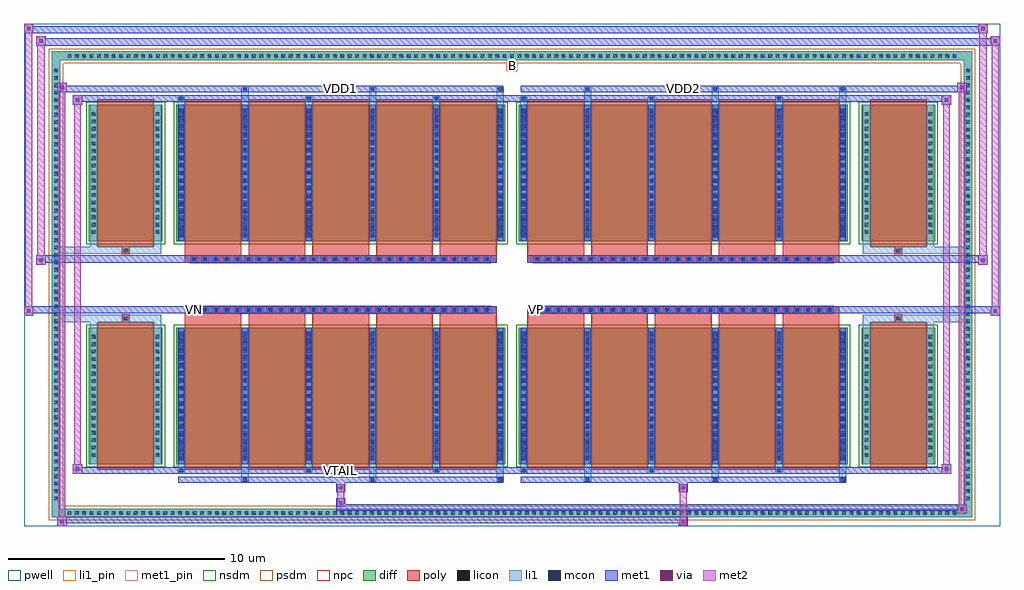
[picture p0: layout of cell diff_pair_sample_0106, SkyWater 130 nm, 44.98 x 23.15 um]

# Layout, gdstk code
import gdstk
lib = gdstk.Library(unit=1e-6, precision=5e-09)
def R(c, l, rs):  # rectangles x0, y0, x1, y1
    for r in rs: c.add(gdstk.rectangle(r[:2], r[2:], *l))
def A(c, l, x, y, w, h, nx, ny, dx, dy):  # array of equal rectangles
    R(c, l, [(x+i*dx, y+j*dy, x+i*dx+w, y+j*dy+h) for i in range(nx) for j in range(ny)])
def P(c, l, *ps):  # polygons
    for p in ps: c.add(gdstk.Polygon(p, *l))
pwell = (64, 44)
diff = (65, 20)
poly = (66, 20)
licon = (66, 44)
li1_pin = (67, 16)
li1 = (67, 20)
mcon = (67, 44)
met1_pin = (68, 16)
met1 = (68, 20)
via = (68, 44)
met2 = (69, 20)
nsdm = (93, 44)
psdm = (94, 20)
npc = (95, 20)

diff_pair_sample_0106 = lib.new_cell('diff_pair_sample_0106')
R(diff_pair_sample_0106, pwell, [(-22.49,-11.14,22.49,12.01), (-19.81,-9.33,-0.01,-0.805), (0.01,-9.33,19.81,-0.805), (-19.81,0.805,-0.01,9.33), (0.01,0.805,19.81,9.33)])
A(diff_pair_sample_0106, diff, -20.605, -10.74, 0.41, 0.41, 121, 2, 0.34, 21.07)
A(diff_pair_sample_0106, diff, -21.22, -10.065, 0.41, 0.41, 1, 59, 0, 0.34)
A(diff_pair_sample_0106, diff, 20.81, -10.065, 0.41, 0.41, 1, 59, 0, 0.34)
R(diff_pair_sample_0106, diff, [(-20.605,-10.74,20.605,-10.33), (-21.22,-10.065,-20.81,10.065), (20.81,-10.065,21.22,10.065), (-19.5,-8.285,-16.11,-1.985), (-15.47,-8.285,-0.32,-1.985), (0.32,-8.285,15.47,-1.985), (16.11,-8.285,19.5,-1.985), (-19.5,1.985,-16.11,8.285), (-15.47,1.985,-0.32,8.285), (0.32,1.985,15.47,8.285), (16.11,1.985,19.5,8.285), (-20.605,10.33,20.605,10.74)])
P(diff_pair_sample_0106, diff, [(21.22,10.74),(-21.22,10.74),(-21.22,-10.33),(-20.81,-10.33),(-20.81,10.33),(20.81,10.33),(20.81,-10.33),(-20.81,-10.33),(-21.22,-10.33),(-21.22,-10.74),(21.22,-10.74)])
A(diff_pair_sample_0106, poly, -15.08, -8.535, 2.61, 6.8, 5, 2, 2.94, 10.27)
A(diff_pair_sample_0106, poly, 0.71, -8.535, 2.61, 6.8, 5, 2, 2.94, 10.27)
A(diff_pair_sample_0106, poly, -15.08, -1.735, 2.61, 0.4, 5, 2, 2.94, 3.07)
A(diff_pair_sample_0106, poly, 0.71, -1.735, 2.61, 0.4, 5, 2, 2.94, 3.07)
A(diff_pair_sample_0106, poly, -14.81, -1.335, 0.33, 0.33, 28, 2, 0.5, 2.34)
A(diff_pair_sample_0106, poly, 0.98, -1.335, 0.33, 0.33, 28, 2, 0.5, 2.34)
R(diff_pair_sample_0106, poly, [(-19.11,-8.535,-16.5,-1.735), (16.5,-8.535,19.11,-1.735), (-17.97,-1.735,-17.64,-1.405), (-17.97,-1.735,-17.64,-1.405), (17.64,-1.735,17.97,-1.405), (17.64,-1.735,17.97,-1.405), (-15.08,-1.335,-0.71,-1.005), (0.71,-1.335,15.08,-1.005), (-15.08,1.005,-0.71,1.335), (0.71,1.005,15.08,1.335), (-17.97,1.405,-17.64,1.735), (-17.97,1.405,-17.64,1.735), (17.64,1.405,17.97,1.735), (17.64,1.405,17.97,1.735), (-19.11,1.735,-16.5,8.535), (16.5,1.735,19.11,8.535)])
A(diff_pair_sample_0106, licon, -20.485, -10.62, 0.17, 0.17, 121, 2, 0.34, 21.07)
A(diff_pair_sample_0106, licon, -21.1, -9.945, 0.17, 0.17, 1, 59, 0, 0.34)
A(diff_pair_sample_0106, licon, 20.93, -9.945, 0.17, 0.17, 1, 59, 0, 0.34)
A(diff_pair_sample_0106, licon, -19.36, -7.94, 0.17, 0.17, 1, 17, 0, 0.34)
A(diff_pair_sample_0106, licon, -16.42, -7.94, 0.17, 0.17, 1, 17, 0, 0.34)
A(diff_pair_sample_0106, licon, -15.33, -7.94, 0.17, 0.17, 6, 17, 2.94, 0.34)
A(diff_pair_sample_0106, licon, 0.46, -7.94, 0.17, 0.17, 6, 17, 2.94, 0.34)
A(diff_pair_sample_0106, licon, 16.25, -7.94, 0.17, 0.17, 1, 17, 0, 0.34)
A(diff_pair_sample_0106, licon, 19.19, -7.94, 0.17, 0.17, 1, 17, 0, 0.34)
A(diff_pair_sample_0106, licon, -14.73, -1.255, 0.17, 0.17, 28, 2, 0.5, 2.34)
A(diff_pair_sample_0106, licon, 1.06, -1.255, 0.17, 0.17, 28, 2, 0.5, 2.34)
A(diff_pair_sample_0106, licon, -19.36, 2.33, 0.17, 0.17, 1, 17, 0, 0.34)
A(diff_pair_sample_0106, licon, -16.42, 2.33, 0.17, 0.17, 1, 17, 0, 0.34)
A(diff_pair_sample_0106, licon, -15.33, 2.33, 0.17, 0.17, 6, 17, 2.94, 0.34)
A(diff_pair_sample_0106, licon, 0.46, 2.33, 0.17, 0.17, 6, 17, 2.94, 0.34)
A(diff_pair_sample_0106, licon, 16.25, 2.33, 0.17, 0.17, 1, 17, 0, 0.34)
A(diff_pair_sample_0106, licon, 19.19, 2.33, 0.17, 0.17, 1, 17, 0, 0.34)
R(diff_pair_sample_0106, licon, [(-17.89,-1.655,-17.72,-1.485), (17.72,-1.655,17.89,-1.485), (-17.89,1.485,-17.72,1.655), (17.72,1.485,17.89,1.655)])
R(diff_pair_sample_0106, li1_pin, [(-0.25,9.83,0.25,10.33)])
A(diff_pair_sample_0106, li1, -20.565, -10.7, 0.33, 0.33, 121, 2, 0.34, 21.07)
A(diff_pair_sample_0106, li1, -21.18, -10.025, 0.33, 0.33, 1, 59, 0, 0.34)
A(diff_pair_sample_0106, li1, 20.85, -10.025, 0.33, 0.33, 1, 59, 0, 0.34)
A(diff_pair_sample_0106, li1, -12.47, -9.09, 0.33, 0.805, 3, 2, 5.88, 17.375)
A(diff_pair_sample_0106, li1, -12.39, -9.09, 0.17, 0.17, 3, 2, 5.88, 18.01)
A(diff_pair_sample_0106, li1, 3.32, -9.09, 0.33, 0.805, 3, 2, 5.88, 17.375)
A(diff_pair_sample_0106, li1, 3.4, -9.09, 0.17, 0.17, 3, 2, 5.88, 18.01)
A(diff_pair_sample_0106, li1, -15.41, -8.66, 0.33, 0.375, 3, 2, 5.88, 16.945)
A(diff_pair_sample_0106, li1, -15.33, -8.66, 0.17, 0.17, 3, 2, 5.88, 17.15)
A(diff_pair_sample_0106, li1, 0.38, -8.66, 0.33, 0.375, 3, 2, 5.88, 16.945)
A(diff_pair_sample_0106, li1, 0.46, -8.66, 0.17, 0.17, 3, 2, 5.88, 17.15)
A(diff_pair_sample_0106, li1, -15.41, -8.285, 0.33, 6.3, 6, 2, 2.94, 10.27)
A(diff_pair_sample_0106, li1, 0.38, -8.285, 0.33, 6.3, 6, 2, 2.94, 10.27)
A(diff_pair_sample_0106, li1, -15.33, -8.1, 0.17, 0.17, 6, 17, 2.94, 0.36)
A(diff_pair_sample_0106, li1, -15.33, -8.1, 0.17, 5.93, 6, 2, 2.94, 10.27)
A(diff_pair_sample_0106, li1, 0.46, -8.1, 0.17, 0.17, 6, 17, 2.94, 0.36)
A(diff_pair_sample_0106, li1, 0.46, -8.1, 0.17, 5.93, 6, 2, 2.94, 10.27)
A(diff_pair_sample_0106, li1, -19.44, -8.02, 0.33, 0.33, 1, 17, 0, 0.34)
A(diff_pair_sample_0106, li1, -16.5, -8.02, 0.33, 0.33, 1, 17, 0, 0.34)
A(diff_pair_sample_0106, li1, -15.41, -8.02, 0.33, 0.33, 6, 17, 2.94, 0.34)
A(diff_pair_sample_0106, li1, 0.38, -8.02, 0.33, 0.33, 6, 17, 2.94, 0.34)
A(diff_pair_sample_0106, li1, 16.17, -8.02, 0.33, 0.33, 1, 17, 0, 0.34)
A(diff_pair_sample_0106, li1, 19.11, -8.02, 0.33, 0.33, 1, 17, 0, 0.34)
A(diff_pair_sample_0106, li1, -14.81, -1.335, 0.33, 0.33, 28, 2, 0.5, 2.34)
A(diff_pair_sample_0106, li1, 0.98, -1.335, 0.33, 0.33, 28, 2, 0.5, 2.34)
A(diff_pair_sample_0106, li1, -15.33, 2.17, 0.17, 0.17, 6, 17, 2.94, 0.36)
A(diff_pair_sample_0106, li1, 0.46, 2.17, 0.17, 0.17, 6, 17, 2.94, 0.36)
A(diff_pair_sample_0106, li1, -19.44, 2.25, 0.33, 0.33, 1, 17, 0, 0.34)
A(diff_pair_sample_0106, li1, -16.5, 2.25, 0.33, 0.33, 1, 17, 0, 0.34)
A(diff_pair_sample_0106, li1, -15.41, 2.25, 0.33, 0.33, 6, 17, 2.94, 0.34)
A(diff_pair_sample_0106, li1, 0.38, 2.25, 0.33, 0.33, 6, 17, 2.94, 0.34)
A(diff_pair_sample_0106, li1, 16.17, 2.25, 0.33, 0.33, 1, 17, 0, 0.34)
A(diff_pair_sample_0106, li1, 19.11, 2.25, 0.33, 0.33, 1, 17, 0, 0.34)
R(diff_pair_sample_0106, li1, [(-21.22,-10.74,-20.81,-10.33), (-21.22,-10.74,-20.81,-10.33), (-20.81,-10.74,20.81,-10.33), (20.81,-10.74,21.22,-10.33), (20.81,-10.74,21.22,-10.33), (-21.22,-10.33,-20.81,10.33), (20.81,-10.33,21.22,10.33), (-19.44,-8.285,-19.11,-1.985), (-16.5,-8.285,-16.17,-1.985), (16.17,-8.285,16.5,-1.985), (19.11,-8.285,19.44,-1.985), (-19.44,-1.985,-19.11,-1.405), (-16.5,-1.985,-16.17,-1.405), (16.17,-1.985,16.5,-1.405), (19.11,-1.985,19.44,-1.405), (-21.22,-1.735,-17.97,-1.405), (-19.44,-1.735,-17.97,-1.405), (-17.97,-1.735,-17.64,-1.405), (-17.64,-1.735,-16.17,-1.405), (16.17,-1.735,17.64,-1.405), (17.64,-1.735,17.97,-1.405), (17.64,-1.735,21.22,-1.405), (17.97,-1.735,19.44,-1.405), (-21.22,1.405,-17.97,1.735), (-19.44,1.405,-17.97,1.735), (-19.44,1.405,-19.11,1.985), (-17.97,1.405,-17.64,1.735), (-17.64,1.405,-16.17,1.735), (-16.5,1.405,-16.17,1.985), (16.17,1.405,17.64,1.735), (16.17,1.405,16.5,1.985), (17.64,1.405,17.97,1.735), (17.64,1.405,21.22,1.735), (17.97,1.405,19.44,1.735), (19.11,1.405,19.44,1.985), (-19.44,1.985,-19.11,8.285), (-16.5,1.985,-16.17,8.285), (16.17,1.985,16.5,8.285), (19.11,1.985,19.44,8.285), (-21.22,10.33,-20.81,10.74), (-21.22,10.33,-20.81,10.74), (-20.81,10.33,20.81,10.74), (20.81,10.33,21.22,10.74), (20.81,10.33,21.22,10.74)])
A(diff_pair_sample_0106, mcon, -12.39, -9.09, 0.17, 0.17, 3, 2, 5.88, 18.01)
A(diff_pair_sample_0106, mcon, 3.4, -9.09, 0.17, 0.17, 3, 2, 5.88, 18.01)
A(diff_pair_sample_0106, mcon, -15.33, -8.66, 0.17, 0.17, 3, 2, 5.88, 17.15)
A(diff_pair_sample_0106, mcon, 0.46, -8.66, 0.17, 0.17, 3, 2, 5.88, 17.15)
A(diff_pair_sample_0106, mcon, -15.33, -8.1, 0.17, 0.17, 6, 17, 2.94, 0.36)
A(diff_pair_sample_0106, mcon, 0.46, -8.1, 0.17, 0.17, 6, 17, 2.94, 0.36)
A(diff_pair_sample_0106, mcon, -14.73, -1.255, 0.17, 0.17, 28, 2, 0.5, 2.34)
A(diff_pair_sample_0106, mcon, 1.06, -1.255, 0.17, 0.17, 28, 2, 0.5, 2.34)
A(diff_pair_sample_0106, mcon, -15.33, 2.17, 0.17, 0.17, 6, 17, 2.94, 0.36)
A(diff_pair_sample_0106, mcon, 0.46, 2.17, 0.17, 0.17, 6, 17, 2.94, 0.36)
R(diff_pair_sample_0106, met1_pin, [(-8.03,-8.7,-7.76,-8.43), (-14.78,-1.295,-14.51,-1.025), (1.01,-1.295,1.28,-1.025), (-8.03,8.88,-7.76,9.15), (7.76,8.88,8.03,9.15)])
A(diff_pair_sample_0106, met1, -12.45, -9.15, 0.29, 0.29, 3, 2, 5.88, 18.01)
A(diff_pair_sample_0106, met1, 3.34, -9.15, 0.29, 0.29, 3, 2, 5.88, 18.01)
A(diff_pair_sample_0106, met1, -15.39, -8.72, 0.29, 0.29, 3, 2, 5.88, 17.15)
A(diff_pair_sample_0106, met1, 0.4, -8.72, 0.29, 0.29, 3, 2, 5.88, 17.15)
A(diff_pair_sample_0106, met1, -15.39, -8.285, 0.29, 6.3, 6, 2, 2.94, 10.27)
A(diff_pair_sample_0106, met1, 0.4, -8.285, 0.29, 6.3, 6, 2, 2.94, 10.27)
A(diff_pair_sample_0106, met1, -15.39, -8.16, 0.29, 0.29, 6, 17, 2.94, 0.36)
A(diff_pair_sample_0106, met1, 0.4, -8.16, 0.29, 0.29, 6, 17, 2.94, 0.36)
A(diff_pair_sample_0106, met1, -14.79, -1.315, 0.29, 0.29, 28, 2, 0.5, 2.34)
A(diff_pair_sample_0106, met1, 1, -1.315, 0.29, 0.29, 28, 2, 0.5, 2.34)
A(diff_pair_sample_0106, met1, -15.39, 2.11, 0.29, 0.29, 6, 17, 2.94, 0.36)
A(diff_pair_sample_0106, met1, 0.4, 2.11, 0.29, 0.29, 6, 17, 2.94, 0.36)
R(diff_pair_sample_0106, met1, [(-20.95,-11.14,-20.52,-10.71), (7.68,-11.14,8.11,-10.71), (-20.95,-11,8.11,-10.71), (20.52,-10.57,20.95,-10.14), (-8.11,-10.43,20.95,-10.14), (-8.11,-10.29,-7.68,-9.86), (-8.11,-9.58,-7.68,-9.15), (7.68,-9.58,8.11,-9.15), (-15.39,-9.15,-0.4,-8.86), (0.4,-9.15,15.39,-8.86), (-20.24,-8.72,-19.81,-8.29), (-20.24,-8.72,-15.39,-8.43), (-15.39,-8.72,-0.4,-8.43), (-0.4,-8.72,0.4,-8.43), (0.4,-8.72,15.39,-8.43), (15.39,-8.72,20.24,-8.43), (19.81,-8.72,20.24,-8.29), (-22.49,-1.435,-22.06,-1.005), (22.06,-1.435,22.49,-1.005), (-22.49,-1.335,-0.71,-1.005), (-15.08,-1.335,-0.71,-1.005), (0.71,-1.335,15.08,-1.005), (0.71,-1.335,22.49,-1.005), (-21.92,0.905,-21.49,1.335), (21.49,0.905,21.92,1.335), (-21.92,1.005,-15.08,1.335), (-15.08,1.005,-0.71,1.335), (0.71,1.005,15.08,1.335), (15.08,1.005,21.92,1.335), (-20.24,8.29,-19.81,8.72), (19.81,8.29,20.24,8.72), (-20.24,8.43,-15.39,8.72), (-15.39,8.43,-0.4,8.72), (-0.4,8.43,0.4,8.72), (0.4,8.43,15.39,8.72), (15.39,8.43,20.24,8.72), (-20.95,8.86,-20.52,9.29), (-20.95,8.86,-15.39,9.15), (-15.39,8.86,-0.4,9.15), (0.4,8.86,15.39,9.15), (15.39,8.86,20.95,9.15), (20.52,8.86,20.95,9.29), (-21.92,11.01,-21.49,11.44), (-21.92,11.01,-19.81,11.34), (-19.81,11.01,19.81,11.34), (19.81,11.01,22.49,11.34), (22.06,11.01,22.49,11.44), (-22.49,11.58,-22.06,12.01), (-22.49,11.58,-19.81,11.91), (-19.81,11.58,19.81,11.91), (19.81,11.58,21.92,11.91), (21.49,11.58,21.92,12.01)])
R(diff_pair_sample_0106, via, [(-20.81,-11,-20.66,-10.85), (7.82,-11,7.97,-10.85), (20.66,-10.43,20.81,-10.28), (-7.97,-10.15,-7.82,-10), (-7.97,-9.44,-7.82,-9.29), (7.82,-9.44,7.97,-9.29), (-20.1,-8.58,-19.95,-8.43), (19.95,-8.58,20.1,-8.43), (-22.35,-1.295,-22.2,-1.145), (22.2,-1.295,22.35,-1.145), (-21.78,1.045,-21.63,1.195), (21.63,1.045,21.78,1.195), (-20.1,8.43,-19.95,8.58), (19.95,8.43,20.1,8.58), (-20.81,9,-20.66,9.15), (20.66,9,20.81,9.15), (-21.78,11.15,-21.63,11.3), (22.2,11.15,22.35,11.3), (-22.35,11.72,-22.2,11.87), (21.63,11.72,21.78,11.87)])
R(diff_pair_sample_0106, met2, [(-20.95,-11.14,-20.52,-10.71), (-20.88,-11.14,-20.59,9.29), (-20.59,-11.14,-20.52,-10.71), (-20.9,-11.09,-20.57,-10.76), (7.73,-11.09,8.06,-10.76), (7.73,-10.76,8.06,-9.53), (20.52,-10.57,20.95,-10.14), (20.59,-10.57,20.88,9.29), (20.88,-10.57,20.95,-10.14), (20.57,-10.52,20.9,-10.19), (-8.06,-10.24,-7.73,-9.91), (-8.06,-9.91,-7.73,-9.53), (-8.06,-9.53,-7.73,-9.2), (7.73,-9.53,8.06,-9.2), (-20.24,-8.72,-19.81,-8.29), (-20.17,-8.72,-19.88,8.72), (-19.88,-8.72,-19.81,-8.29), (19.81,-8.72,20.24,-8.29), (19.88,-8.72,20.17,8.72), (20.17,-8.72,20.24,-8.29), (-20.19,-8.67,-19.86,-8.34), (19.86,-8.67,20.19,-8.34), (-22.49,-1.435,-22.06,-1.005), (-22.44,-1.435,-22.11,12.01), (-22.11,-1.435,-22.06,-1.005), (22.06,-1.435,22.49,-1.005), (22.11,-1.435,22.44,11.44), (22.44,-1.435,22.49,-1.005), (-22.44,-1.385,-22.11,-1.055), (22.11,-1.385,22.44,-1.055), (-21.92,0.905,-21.49,1.335), (-21.87,0.905,-21.54,11.44), (-21.54,0.905,-21.49,1.335), (21.49,0.905,21.92,1.335), (21.54,0.905,21.87,12.01), (21.87,0.905,21.92,1.335), (-21.87,0.955,-21.54,1.285), (21.54,0.955,21.87,1.285), (-20.24,8.29,-19.81,8.72), (-19.88,8.29,-19.81,8.72), (19.81,8.29,20.24,8.72), (20.17,8.29,20.24,8.72), (-20.19,8.34,-19.86,8.67), (19.86,8.34,20.19,8.67), (-20.95,8.86,-20.52,9.29), (-20.59,8.86,-20.52,9.29), (20.52,8.86,20.95,9.29), (20.88,8.86,20.95,9.29), (-20.9,8.91,-20.57,9.24), (20.57,8.91,20.9,9.24), (-21.92,11.01,-21.49,11.44), (-21.54,11.01,-21.49,11.44), (22.06,11.01,22.49,11.44), (22.44,11.01,22.49,11.44), (-21.87,11.06,-21.54,11.39), (22.11,11.06,22.44,11.39), (-22.49,11.58,-22.06,12.01), (-22.11,11.58,-22.06,12.01), (21.49,11.58,21.92,12.01), (21.87,11.58,21.92,12.01), (-22.44,11.63,-22.11,11.96), (21.54,11.63,21.87,11.96)])
R(diff_pair_sample_0106, nsdm, [(-19.63,-8.415,-15.98,-1.855), (-15.6,-8.415,-0.19,-1.855), (0.19,-8.415,15.6,-1.855), (15.98,-8.415,19.63,-1.855), (-19.63,1.855,-15.98,8.415), (-15.6,1.855,-0.19,8.415), (0.19,1.855,15.6,8.415), (15.98,1.855,19.63,8.415)])
P(diff_pair_sample_0106, psdm, [(21.35,10.87),(-21.35,10.87),(-21.35,-10.2),(-20.68,-10.2),(-20.68,10.2),(20.68,10.2),(20.68,-10.2),(-20.68,-10.2),(-21.35,-10.2),(-21.35,-10.87),(21.35,-10.87)])
A(diff_pair_sample_0106, npc, -14.83, -1.355, 0.37, 0.37, 28, 2, 0.5, 2.34)
A(diff_pair_sample_0106, npc, 0.96, -1.355, 0.37, 0.37, 28, 2, 0.5, 2.34)
R(diff_pair_sample_0106, npc, [(-17.99,-1.755,-17.62,-1.385), (17.62,-1.755,17.99,-1.385), (-14.83,-1.355,-13.96,-0.985), (-14.83,-1.355,-13.96,-0.985), (-14.33,-1.355,-13.46,-0.985), (-14.33,-1.355,-13.46,-0.985), (-13.83,-1.355,-12.96,-0.985), (-13.83,-1.355,-12.96,-0.985), (-13.33,-1.355,-12.46,-0.985), (-13.33,-1.355,-12.46,-0.985), (-12.83,-1.355,-11.96,-0.985), (-12.83,-1.355,-11.96,-0.985), (-12.33,-1.355,-11.46,-0.985), (-12.33,-1.355,-11.46,-0.985), (-11.83,-1.355,-10.96,-0.985), (-11.83,-1.355,-10.96,-0.985), (-11.33,-1.355,-10.46,-0.985), (-11.33,-1.355,-10.46,-0.985), (-10.83,-1.355,-9.96,-0.985), (-10.83,-1.355,-9.96,-0.985), (-10.33,-1.355,-9.46,-0.985), (-10.33,-1.355,-9.46,-0.985), (-9.83,-1.355,-8.96,-0.985), (-9.83,-1.355,-8.96,-0.985), (-9.33,-1.355,-8.46,-0.985), (-9.33,-1.355,-8.46,-0.985), (-8.83,-1.355,-7.96,-0.985), (-8.83,-1.355,-7.96,-0.985), (-8.33,-1.355,-7.46,-0.985), (-8.33,-1.355,-7.46,-0.985), (-7.83,-1.355,-6.96,-0.985), (-7.83,-1.355,-6.96,-0.985), (-7.33,-1.355,-6.46,-0.985), (-7.33,-1.355,-6.46,-0.985), (-6.83,-1.355,-5.96,-0.985), (-6.83,-1.355,-5.96,-0.985), (-6.33,-1.355,-5.46,-0.985), (-6.33,-1.355,-5.46,-0.985), (-5.83,-1.355,-4.96,-0.985), (-5.83,-1.355,-4.96,-0.985), (-5.33,-1.355,-4.46,-0.985), (-5.33,-1.355,-4.46,-0.985), (-4.83,-1.355,-3.96,-0.985), (-4.83,-1.355,-3.96,-0.985), (-4.33,-1.355,-3.46,-0.985), (-4.33,-1.355,-3.46,-0.985), (-3.83,-1.355,-2.96,-0.985), (-3.83,-1.355,-2.96,-0.985), (-3.33,-1.355,-2.46,-0.985), (-3.33,-1.355,-2.46,-0.985), (-2.83,-1.355,-1.96,-0.985), (-2.83,-1.355,-1.96,-0.985), (-2.33,-1.355,-1.46,-0.985), (-2.33,-1.355,-1.46,-0.985), (-1.83,-1.355,-0.96,-0.985), (-1.83,-1.355,-0.96,-0.985), (0.96,-1.355,1.83,-0.985), (0.96,-1.355,1.83,-0.985), (1.46,-1.355,2.33,-0.985), (1.46,-1.355,2.33,-0.985), (1.96,-1.355,2.83,-0.985), (1.96,-1.355,2.83,-0.985), (2.46,-1.355,3.33,-0.985), (2.46,-1.355,3.33,-0.985), (2.96,-1.355,3.83,-0.985), (2.96,-1.355,3.83,-0.985), (3.46,-1.355,4.33,-0.985), (3.46,-1.355,4.33,-0.985), (3.96,-1.355,4.83,-0.985), (3.96,-1.355,4.83,-0.985), (4.46,-1.355,5.33,-0.985), (4.46,-1.355,5.33,-0.985), (4.96,-1.355,5.83,-0.985), (4.96,-1.355,5.83,-0.985), (5.46,-1.355,6.33,-0.985), (5.46,-1.355,6.33,-0.985), (5.96,-1.355,6.83,-0.985), (5.96,-1.355,6.83,-0.985), (6.46,-1.355,7.33,-0.985), (6.46,-1.355,7.33,-0.985), (6.96,-1.355,7.83,-0.985), (6.96,-1.355,7.83,-0.985), (7.46,-1.355,8.33,-0.985), (7.46,-1.355,8.33,-0.985), (7.96,-1.355,8.83,-0.985), (7.96,-1.355,8.83,-0.985), (8.46,-1.355,9.33,-0.985), (8.46,-1.355,9.33,-0.985), (8.96,-1.355,9.83,-0.985), (8.96,-1.355,9.83,-0.985), (9.46,-1.355,10.33,-0.985), (9.46,-1.355,10.33,-0.985), (9.96,-1.355,10.83,-0.985), (9.96,-1.355,10.83,-0.985), (10.46,-1.355,11.33,-0.985), (10.46,-1.355,11.33,-0.985), (10.96,-1.355,11.83,-0.985), (10.96,-1.355,11.83,-0.985), (11.46,-1.355,12.33,-0.985), (11.46,-1.355,12.33,-0.985), (11.96,-1.355,12.83,-0.985), (11.96,-1.355,12.83,-0.985), (12.46,-1.355,13.33,-0.985), (12.46,-1.355,13.33,-0.985), (12.96,-1.355,13.83,-0.985), (12.96,-1.355,13.83,-0.985), (13.46,-1.355,14.33,-0.985), (13.46,-1.355,14.33,-0.985), (13.96,-1.355,14.83,-0.985), (13.96,-1.355,14.83,-0.985), (-14.83,0.985,-13.96,1.355), (-14.83,0.985,-13.96,1.355), (-14.33,0.985,-13.46,1.355), (-14.33,0.985,-13.46,1.355), (-13.83,0.985,-12.96,1.355), (-13.83,0.985,-12.96,1.355), (-13.33,0.985,-12.46,1.355), (-13.33,0.985,-12.46,1.355), (-12.83,0.985,-11.96,1.355), (-12.83,0.985,-11.96,1.355), (-12.33,0.985,-11.46,1.355), (-12.33,0.985,-11.46,1.355), (-11.83,0.985,-10.96,1.355), (-11.83,0.985,-10.96,1.355), (-11.33,0.985,-10.46,1.355), (-11.33,0.985,-10.46,1.355), (-10.83,0.985,-9.96,1.355), (-10.83,0.985,-9.96,1.355), (-10.33,0.985,-9.46,1.355), (-10.33,0.985,-9.46,1.355), (-9.83,0.985,-8.96,1.355), (-9.83,0.985,-8.96,1.355), (-9.33,0.985,-8.46,1.355), (-9.33,0.985,-8.46,1.355), (-8.83,0.985,-7.96,1.355), (-8.83,0.985,-7.96,1.355), (-8.33,0.985,-7.46,1.355), (-8.33,0.985,-7.46,1.355), (-7.83,0.985,-6.96,1.355), (-7.83,0.985,-6.96,1.355), (-7.33,0.985,-6.46,1.355), (-7.33,0.985,-6.46,1.355), (-6.83,0.985,-5.96,1.355), (-6.83,0.985,-5.96,1.355), (-6.33,0.985,-5.46,1.355), (-6.33,0.985,-5.46,1.355), (-5.83,0.985,-4.96,1.355), (-5.83,0.985,-4.96,1.355), (-5.33,0.985,-4.46,1.355), (-5.33,0.985,-4.46,1.355), (-4.83,0.985,-3.96,1.355), (-4.83,0.985,-3.96,1.355), (-4.33,0.985,-3.46,1.355), (-4.33,0.985,-3.46,1.355), (-3.83,0.985,-2.96,1.355), (-3.83,0.985,-2.96,1.355), (-3.33,0.985,-2.46,1.355), (-3.33,0.985,-2.46,1.355), (-2.83,0.985,-1.96,1.355), (-2.83,0.985,-1.96,1.355), (-2.33,0.985,-1.46,1.355), (-2.33,0.985,-1.46,1.355), (-1.83,0.985,-0.96,1.355), (-1.83,0.985,-0.96,1.355), (0.96,0.985,1.83,1.355), (0.96,0.985,1.83,1.355), (1.46,0.985,2.33,1.355), (1.46,0.985,2.33,1.355), (1.96,0.985,2.83,1.355), (1.96,0.985,2.83,1.355), (2.46,0.985,3.33,1.355), (2.46,0.985,3.33,1.355), (2.96,0.985,3.83,1.355), (2.96,0.985,3.83,1.355), (3.46,0.985,4.33,1.355), (3.46,0.985,4.33,1.355), (3.96,0.985,4.83,1.355), (3.96,0.985,4.83,1.355), (4.46,0.985,5.33,1.355), (4.46,0.985,5.33,1.355), (4.96,0.985,5.83,1.355), (4.96,0.985,5.83,1.355), (5.46,0.985,6.33,1.355), (5.46,0.985,6.33,1.355), (5.96,0.985,6.83,1.355), (5.96,0.985,6.83,1.355), (6.46,0.985,7.33,1.355), (6.46,0.985,7.33,1.355), (6.96,0.985,7.83,1.355), (6.96,0.985,7.83,1.355), (7.46,0.985,8.33,1.355), (7.46,0.985,8.33,1.355), (7.96,0.985,8.83,1.355), (7.96,0.985,8.83,1.355), (8.46,0.985,9.33,1.355), (8.46,0.985,9.33,1.355), (8.96,0.985,9.83,1.355), (8.96,0.985,9.83,1.355), (9.46,0.985,10.33,1.355), (9.46,0.985,10.33,1.355), (9.96,0.985,10.83,1.355), (9.96,0.985,10.83,1.355), (10.46,0.985,11.33,1.355), (10.46,0.985,11.33,1.355), (10.96,0.985,11.83,1.355), (10.96,0.985,11.83,1.355), (11.46,0.985,12.33,1.355), (11.46,0.985,12.33,1.355), (11.96,0.985,12.83,1.355), (11.96,0.985,12.83,1.355), (12.46,0.985,13.33,1.355), (12.46,0.985,13.33,1.355), (12.96,0.985,13.83,1.355), (12.96,0.985,13.83,1.355), (13.46,0.985,14.33,1.355), (13.46,0.985,14.33,1.355), (13.96,0.985,14.83,1.355), (13.96,0.985,14.83,1.355), (-17.99,1.385,-17.62,1.755), (17.62,1.385,17.99,1.755)])
diff_pair_sample_0106.add(gdstk.Label('VTAIL', (-7.895,-8.565), layer=68, texttype=5))
diff_pair_sample_0106.add(gdstk.Label('VN', (-14.645,-1.16), layer=68, texttype=5))
diff_pair_sample_0106.add(gdstk.Label('VP', (1.145,-1.16), layer=68, texttype=5))
diff_pair_sample_0106.add(gdstk.Label('B', (0,10.08), layer=67, texttype=5))
diff_pair_sample_0106.add(gdstk.Label('VDD2', (7.895,9.015), layer=68, texttype=5))
diff_pair_sample_0106.add(gdstk.Label('VDD1', (-7.895,9.015), layer=68, texttype=5))

lib.write_gds('diff_pair_sample_0106.gds')
